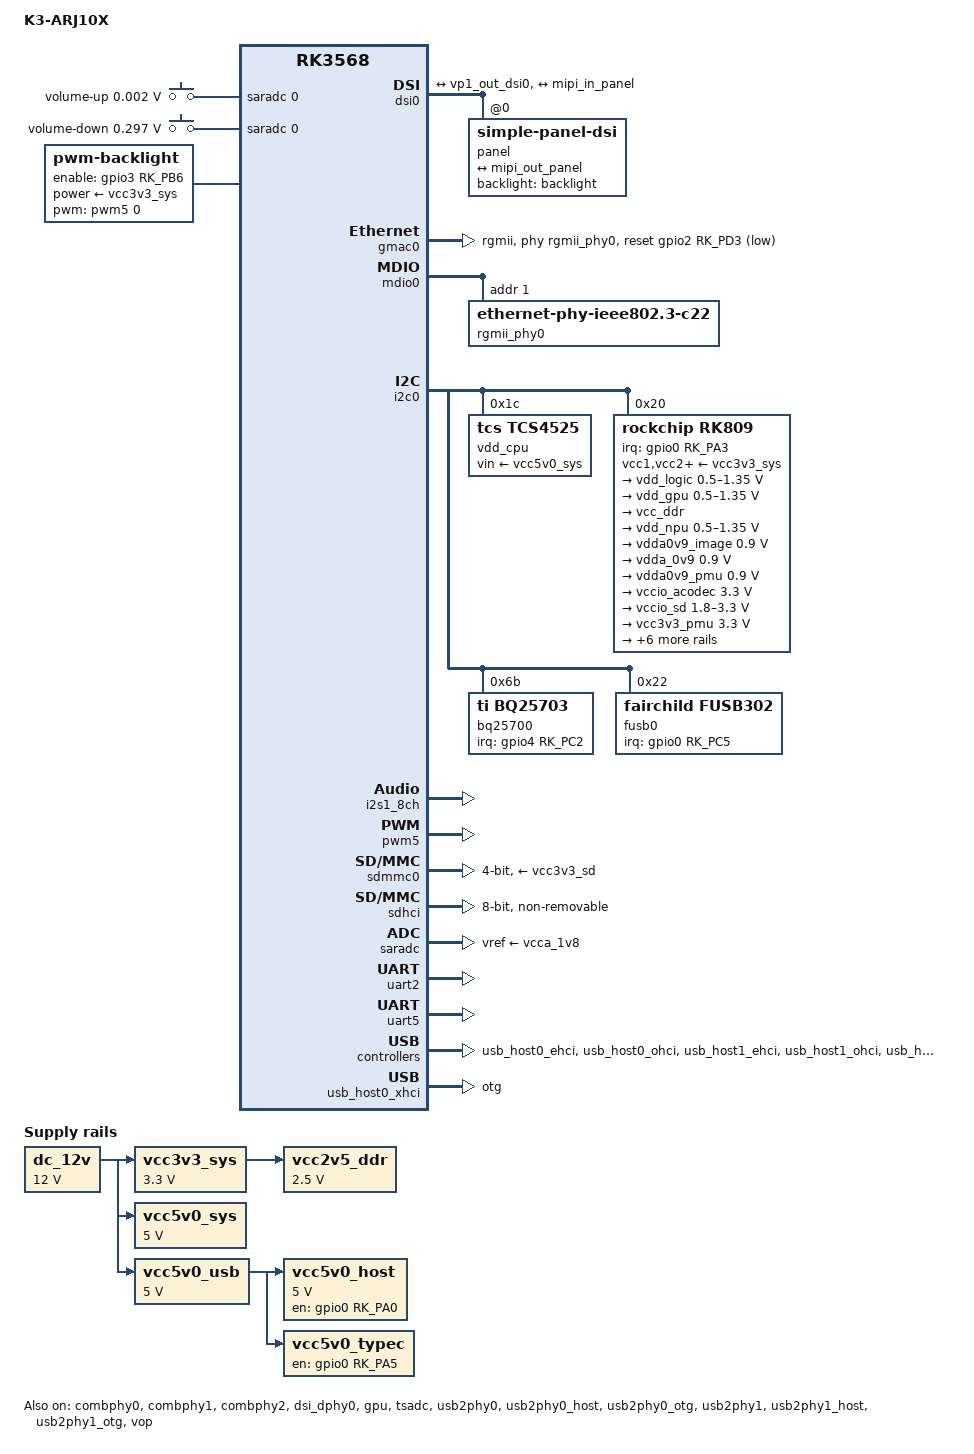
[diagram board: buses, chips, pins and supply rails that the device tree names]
// SPDX-License-Identifier: GPL-2.0-or-later OR MIT
/*
 * Copyright (c) 2025 Serhii Serhieiev <adron@ngnp.net>
 */

/dts-v1/;
#include <dt-bindings/gpio/gpio.h>
#include <dt-bindings/input/input.h>
#include <dt-bindings/leds/common.h>
#include <dt-bindings/pinctrl/rockchip.h>
#include <dt-bindings/soc/rockchip,vop2.h>
#include <dt-bindings/display/drm_mipi_dsi.h>
#include "rk3568.dtsi"

/ {
	model = "K3-ARJ10X";
	compatible = "k3,-arj10X", "rockchip,rk3568";

	aliases {
		ethernet0 = &gmac0;
		mmc0 = &sdmmc0;
		mmc1 = &sdmmc1;
		mmc2 = &sdhci;
		mmc3 = &sdmmc2;
	};

	chosen: chosen {
		stdout-path = "serial5:230400n8";
		bootargs = "console=tty0 console=ttyS0,230400n8 logo.nologo video=DSI-1:panel_orientation=right_side_up fbcon=rotate:3";
		//bootargs = "console=tty0 logo.nologo video=DSI-1:panel_orientation=right_side_up r00t=/dev/mmcblk0p19";
		//bootargs = "console=tty0 logo.nologo video=DSI-1:panel_orientation=right_side_up r00t=/dev/mmcblk0p19 printk.devkmsg=on loglevel=6";
	};

	adc-keys {
		compatible = "adc-keys";
		io-channels = <&saradc 0>;
		io-channel-names = "buttons";
		keyup-threshold-microvolt = <1800000>;
		poll-interval = <100>;

		vol-up-key {
			label = "volume-up";
			linux,code = <KEY_VOLUMEUP>;
			press-threshold-microvolt = <1750>;
		};
		vol-down-key {
			label = "volume-down";
			linux,code = <KEY_VOLUMEDOWN>;
			press-threshold-microvolt = <297500>;
		};
	};

	backlight: backlight {
		compatible = "pwm-backlight";
		power-supply = <&vcc3v3_sys>;
		pwms = <&pwm5 0 25000 0>;
		enable-gpios = <&gpio3 RK_PB6 GPIO_ACTIVE_HIGH>;
		pinctrl-names = "default";
		pinctrl-0 = <&lvds_bl_en>;
		brightness-levels = <
			0   20  20  21  21  22  22  23
			23  24  24  25  25  26  26  27
			27  28  28  29  29  30  30  31
			31  32  32  33  33  34  34  35
			35  36  36  37  37  38  38  39
			40  41  42  43  44  45  46  47
			48  49  50  51  52  53  54  55
			56  57  58  59  60  61  62  63
			64  65  66  67  68  69  70  71
			72  73  74  75  76  77  78  79
			80  81  82  83  84  85  86  87
			88  89  90  91  92  93  94  95
			96  97  98  99  100 101 102 103
			104 105 106 107 108 109 110 111
			112 113 114 115 116 117 118 119
			120 121 122 123 124 125 126 127
			128 129 130 131 132 133 134 135
			136 137 138 139 140 141 142 143
			144 145 146 147 148 149 150 151
			152 153 154 155 156 157 158 159
			160 161 162 163 164 165 166 167
			168 169 170 171 172 173 174 175
			176 177 178 179 180 181 182 183
			184 185 186 187 188 189 190 191
			192 193 194 195 196 197 198 199
			200 201 202 203 204 205 206 207
			208 209 210 211 212 213 214 215
			216 217 218 219 220 221 222 223
			224 225 226 227 228 229 230 231
			232 233 234 235 236 237 238 239
			240 241 242 243 244 245 246 247
			248 249 250 251 252 253 254 255>;
		default-brightness-level = <50>;
	};

	/* hdmi-con {
		compatible = "hdmi-connector";
		type = "c";

		port {
			hdmi_con_in: endpoint {
				remote-endpoint = <&hdmi_out_con>;
			};
		};
	}; */

	dc_12v: dc-12v {
		compatible = "regulator-fixed";
		regulator-name = "dc_12v";
		regulator-always-on;
		regulator-boot-on;
		regulator-min-microvolt = <12000000>;
		regulator-max-microvolt = <12000000>;
	};

	vcc3v3_sys: vcc3v3-sys {
		compatible = "regulator-fixed";
		regulator-name = "vcc3v3_sys";
		regulator-always-on;
		regulator-boot-on;
		regulator-min-microvolt = <3300000>;
		regulator-max-microvolt = <3300000>;
		vin-supply = <&dc_12v>;
	};

	vcc5v0_sys: vcc5v0-sys {
		compatible = "regulator-fixed";
		regulator-name = "vcc5v0_sys";
		regulator-always-on;
		regulator-boot-on;
		regulator-min-microvolt = <5000000>;
		regulator-max-microvolt = <5000000>;
		vin-supply = <&dc_12v>;
	};

	vcc2v5_ddr: vcc2v5-ddr {
		compatible = "regulator-fixed";
		regulator-name = "vcc2v5_sys";
		regulator-always-on;
		regulator-boot-on;
		regulator-min-microvolt = <2500000>;
		regulator-max-microvolt = <2500000>;
		vin-supply = <&vcc3v3_sys>;
	};

	vcc5v0_usb: vcc5v0-usb {
		compatible = "regulator-fixed";
		regulator-name = "vcc5v0_usb";
		regulator-always-on;
		regulator-boot-on;
		regulator-min-microvolt = <5000000>;
		regulator-max-microvolt = <5000000>;
		vin-supply = <&dc_12v>;
	};

	vcc5v0_host: vcc5v0-host-regulator {
		compatible = "regulator-fixed";
		regulator-name = "vcc5v0_host";
		regulator-boot-on;
		regulator-always-on;
		regulator-min-microvolt = <5000000>;
		regulator-max-microvolt = <5000000>;
		enable-active-high;
		gpio = <&gpio0 RK_PA0 GPIO_ACTIVE_HIGH>;
		vin-supply = <&vcc5v0_usb>;
		pinctrl-names = "default";
		pinctrl-0 = <&vcc5v0_host_en>;
	};

	vcc5v0_typec: vcc5v0-typec-regulator {
		compatible = "regulator-fixed";
		enable-active-high;
		gpio = <&gpio0 RK_PA5 GPIO_ACTIVE_HIGH>;
		pinctrl-names = "default";
		pinctrl-0 = <&vcc5v0_typec_en>;
		regulator-name = "vcc5v0_typec";
		regulator-always-on;
		vin-supply = <&vcc5v0_usb>;
	};

};

&combphy0 {
	/* used for USB3 */
	status = "okay";
	extcon = <&fusb0>;
};

&combphy1 {
	/* used for USB3 */
	status = "okay";
};

&combphy2 {
	/* used for PCIe */
	status = "okay";
};

&cpu0 {
	cpu-supply = <&vdd_cpu>;
};

&cpu1 {
	cpu-supply = <&vdd_cpu>;
};

&cpu2 {
	cpu-supply = <&vdd_cpu>;
};

&cpu3 {
	cpu-supply = <&vdd_cpu>;
};

&dsi_dphy0 {
	status = "okay";
};

&dsi0 {
	status = "okay";

	ports {
		dsi0_in: port@0 {
			reg = <0>;
			dsi0_in_vp1: endpoint {
				remote-endpoint = <&vp1_out_dsi0>;
			};
		};

		dsi0_out: port@1 {
			reg = <1>;
			mipi_out_panel: endpoint {
				remote-endpoint = <&mipi_in_panel>;
			};
		};
	};

	panel: panel@0 {
		compatible = "simple-panel-dsi";
		reg = <0>;

		backlight = <&backlight>;

		reset-delay-ms = <60>;
		enable-delay-ms = <60>;
		prepare-delay-ms = <60>;
		unprepare-delay-ms = <60>;
		init-delay-ms = <120>;
		disable-delay-ms = <60>;

		width-mm = <135>;
		height-mm = <216>;

		dsi,flags = <(MIPI_DSI_MODE_VIDEO | MIPI_DSI_MODE_VIDEO_BURST |
			      MIPI_DSI_MODE_LPM | MIPI_DSI_MODE_NO_EOT_PACKET)>;

		dsi,format = <MIPI_DSI_FMT_RGB888>;
		dsi,lanes = <4>;

		panel-init-sequence = [
			05 78 01 11
			05 1E 01 29
		];
		panel-exit-sequence = [
			05 00 01 28
			05 00 01 10
		];

		display-timings {
			native-mode = <&timing0>;

			timing0: timing0 {
				clock-frequency = <159000000>;
				hactive = <1200>;
				vactive = <1920>;

				hfront-porch = <60>;
				hsync-len = <24>;
				hback-porch = <80>;

				vfront-porch = <14>;
				vsync-len = <2>;
				vback-porch = <10>;

				hsync-active = <0>;
				vsync-active = <0>;
				de-active = <0>;
				pixelclk-active = <0>;
			};
		};

		port {
			mipi_in_panel: endpoint {
				remote-endpoint = <&mipi_out_panel>;
			};
		};
	};
};

&gpu {
	mali-supply = <&vdd_gpu>;
	status = "okay";
};

/* &hdmi {
	status = "okay";
};

&hdmi_in {
	hdmi_in_vp0: endpoint {
		remote-endpoint = <&vp0_out_hdmi>;
	};
};

&hdmi_out {
	hdmi_out_con: endpoint {
		remote-endpoint = <&hdmi_con_in>;
	};
}; */

&gmac0 {
	assigned-clocks = <&cru SCLK_GMAC0_RX_TX>, <&cru SCLK_GMAC0>;
	assigned-clock-parents = <&cru SCLK_GMAC0_RGMII_SPEED>;
	assigned-clock-rates = <0>, <125000000>;
	clock_in_out = "output";
	phy-handle = <&rgmii_phy0>;
	phy-mode = "rgmii";

	pinctrl-names = "default";
	pinctrl-0 = <&gmac0_miim
     &gmac0_tx_bus2_level3
     &gmac0_rx_bus2
     &gmac0_rgmii_clk_level2
     &gmac0_rgmii_bus_level3>;

	snps,reset-gpio = <&gpio2 RK_PD3 GPIO_ACTIVE_LOW>;
	snps,reset-active-low;
	/* Reset time is 20ms, 100ms for XXX */
	snps,reset-delays-us = <0 20000 100000>;

	tx_delay = <0x46>;
	rx_delay = <0x2f>;

	status = "okay";
};

&mdio0 {
	rgmii_phy0: ethernet-phy@1 {
		compatible = "ethernet-phy-ieee802.3-c22";
		reg = <1>;
	};
};

&i2c0 {
	status = "okay";

	vdd_cpu: regulator@1c {
		compatible = "tcs,tcs4525";
		reg = <0x1c>;
		regulator-compatible = "fan53555-reg";
		fcs,suspend-voltage-selector = <1>;
		regulator-name = "vdd_cpu";
		regulator-min-microvolt = <712500>;
		regulator-max-microvolt = <1390000>;
		regulator-init-microvolt = <900000>;
		regulator-ramp-delay = <2300>;
		regulator-always-on;
		regulator-boot-on;
		vin-supply = <&vcc5v0_sys>;

		regulator-state-mem {
			regulator-off-in-suspend;
		};
	};

	rk809: pmic@20 {
		compatible = "rockchip,rk809";
		reg = <0x20>;

		interrupt-parent = <&gpio0>;
		interrupts = <RK_PA3 IRQ_TYPE_LEVEL_LOW>;

		assigned-clocks = <&cru I2S1_MCLKOUT_TX>;
		assigned-clock-parents = <&cru CLK_I2S1_8CH_TX>;
		#sound-dai-cells = <0>;

		#clock-cells = <1>;
		clock-names = "mclk";
		clocks = <&cru I2S1_MCLKOUT_TX>;

		pinctrl-names = "default";
		pinctrl-0 = <&pmic_int>, <&i2s1m0_mclk>;

		rockchip,system-power-controller;
		wakeup-source;

		vcc1-supply = <&vcc3v3_sys>;
		vcc2-supply = <&vcc3v3_sys>;
		vcc3-supply = <&vcc3v3_sys>;
		vcc4-supply = <&vcc3v3_sys>;
		vcc5-supply = <&vcc3v3_sys>;
		vcc6-supply = <&vcc3v3_sys>;
		vcc7-supply = <&vcc3v3_sys>;
		vcc8-supply = <&vcc3v3_sys>;
		vcc9-supply = <&vcc3v3_sys>;

		regulators {
			vdd_logic: DCDC_REG1 {
				regulator-name = "vdd_logic";
				regulator-always-on;
				regulator-boot-on;
				regulator-init-microvolt = <900000>;
				regulator-initial-mode = <2>;
				regulator-min-microvolt = <500000>;
				regulator-max-microvolt = <1350000>;
				regulator-ramp-delay = <6001>;

				regulator-state-mem {
					regulator-off-in-suspend;
				};
			};

			vdd_gpu: DCDC_REG2 {
				regulator-always-on;
				regulator-boot-on;
				regulator-name = "vdd_gpu";
				regulator-init-microvolt = <900000>;
				regulator-initial-mode = <2>;
				regulator-min-microvolt = <500000>;
				regulator-max-microvolt = <1350000>;
				regulator-ramp-delay = <6001>;

				regulator-state-mem {
					regulator-off-in-suspend;
				};
			};

			vcc_ddr: DCDC_REG3 {
				regulator-name = "vcc_ddr";
				regulator-always-on;
				regulator-boot-on;
				regulator-initial-mode = <2>;

				regulator-state-mem {
					regulator-on-in-suspend;
				};
			};

			vdd_npu: DCDC_REG4 {
				regulator-name = "vdd_npu";
				regulator-init-microvolt = <900000>;
				regulator-initial-mode = <2>;
				regulator-min-microvolt = <500000>;
				regulator-max-microvolt = <1350000>;
				regulator-ramp-delay = <6001>;

				regulator-state-mem {
					regulator-off-in-suspend;
				};
			};

			vdda0v9_image: LDO_REG1 {
				regulator-boot-on;
				regulator-always-on;
				regulator-name = "vdda0v9_image";
				regulator-min-microvolt = <900000>;
				regulator-max-microvolt = <900000>;

				regulator-state-mem {
					regulator-off-in-suspend;
				};
			};

			vdda_0v9: LDO_REG2 {
				regulator-name = "vdda_0v9";
				regulator-always-on;
				regulator-boot-on;
				regulator-min-microvolt = <900000>;
				regulator-max-microvolt = <900000>;

				regulator-state-mem {
					regulator-off-in-suspend;
				};
			};

			vdda0v9_pmu: LDO_REG3 {
				regulator-name = "vdda0v9_pmu";
				regulator-always-on;
				regulator-boot-on;
				regulator-min-microvolt = <900000>;
				regulator-max-microvolt = <900000>;

				regulator-state-mem {
					regulator-on-in-suspend;
					regulator-suspend-microvolt = <900000>;
				};
			};

			vccio_acodec: LDO_REG4 {
				regulator-always-on;
				regulator-boot-on;
				regulator-name = "vccio_acodec";
				regulator-min-microvolt = <3300000>;
				regulator-max-microvolt = <3300000>;

				regulator-state-mem {
					regulator-off-in-suspend;
				};
			};

			vccio_sd: LDO_REG5 {
				regulator-name = "vccio_sd";
				regulator-always-on;
				regulator-boot-on;
				regulator-min-microvolt = <1800000>;
				regulator-max-microvolt = <3300000>;

				regulator-state-mem {
					regulator-off-in-suspend;
				};
			};

			vcc3v3_pmu: LDO_REG6 {
				regulator-name = "vcc3v3_pmu";
				regulator-always-on;
				regulator-boot-on;
				regulator-min-microvolt = <3300000>;
				regulator-max-microvolt = <3300000>;

				regulator-state-mem {
					regulator-on-in-suspend;
					regulator-suspend-microvolt = <3300000>;
				};
			};

			vcca_1v8: LDO_REG7 {
				regulator-name = "vcca_1v8";
				regulator-always-on;
				regulator-boot-on;
				regulator-min-microvolt = <1800000>;
				regulator-max-microvolt = <1800000>;

				regulator-state-mem {
					regulator-off-in-suspend;
				};
			};

			vcca1v8_pmu: LDO_REG8 {
				regulator-name = "vcca1v8_pmu";
				regulator-always-on;
				regulator-boot-on;
				regulator-min-microvolt = <1800000>;
				regulator-max-microvolt = <1800000>;

				regulator-state-mem {
					regulator-on-in-suspend;
					regulator-suspend-microvolt = <1800000>;
				};
			};

			vcca1v8_image: LDO_REG9 {
				regulator-always-on;
				regulator-boot-on;
				regulator-name = "vcca1v8_image";
				regulator-min-microvolt = <1800000>;
				regulator-max-microvolt = <1800000>;

				regulator-state-mem {
					regulator-off-in-suspend;
				};
			};

			vcc_1v8: DCDC_REG5 {
				regulator-always-on;
				regulator-boot-on;
				regulator-min-microvolt = <1800000>;
				regulator-max-microvolt = <1800000>;
				regulator-name = "vcc_1v8";
				regulator-state-mem {
					regulator-off-in-suspend;
				};
			};

			vcc_3v3: SWITCH_REG1 {
				regulator-name = "vcc_3v3";
				regulator-always-on;
				regulator-boot-on;

				regulator-state-mem {
					regulator-off-in-suspend;
				};
			};

			vcc3v3_sd: SWITCH_REG2 {
				regulator-name = "vcc3v3_sd";
				regulator-always-on;
				regulator-boot-on;

				regulator-state-mem {
					regulator-off-in-suspend;
				};
			};
		};

		/* rk817_charger: charger {
			monitored-battery = <&battery>;
			rockchip,resistor-sense-micro-ohms = <10000>;
			rockchip,sleep-enter-current-microamp = <150000>;
			rockchip,sleep-filter-current-microamp = <100000>;
		}; */

	};

	bq25700@6b {
		status = "okay";
		compatible = "ti,bq25703";
		reg = <0x6b>;
		interrupt-parent = <&gpio4>;
		interrupts = <RK_PC2 IRQ_TYPE_LEVEL_LOW>;
		pinctrl-names = "default";
		pinctrl-0 = <&charger_ok_int>;
		ti,charge-current = <1472000>;
		ti,max-input-voltage = <19520000>;
		ti,max-charge-voltage = <8704000>;	// >100%
		ti,pct80-charge-voltage = <8256000>; // ~75-80%
		ti,charge-term-current = <300000>;
		ti,vigilant-thread-period = <30>;
		ti,input-current-sdp = <5000000>; // actual current limit
		ti,input-current-dcp = <2000000>; // do not used
		ti,input-current-cdp = <2000000>; // do not used
		ti,minimum-sys-voltage = <7296000>; // ~20%
		ti,otg-voltage = <5000000>; // do not used
		ti,otg-current = <1500000>; // do not used
		pd-charge-only = <0>;

		ocv_table_mv = <7296
			7360 7424 7488 7552 7616
			7680 7744 7808 7872 7936
			8000 8064 8128 8192 8256
			8320 8384 8448 8512 8576>;
		ocv_table_ma = <192
			256	 320	384	 448	512
			576	 640	704	 768	832
			896	 960	1024 1088 1152
			1216 1280 1344 1408 1472>; // 100..80%

		charge-full-design-microamp-hours = <6000000>;
	};

	fusb0: fusb30x@22 {
		status = "okay";
		compatible = "fairchild,fusb302";
		reg = <0x22>;
		interrupt-parent = <&gpio0>;
		interrupts = <RK_PC5 IRQ_TYPE_LEVEL_LOW>;
		pinctrl-names = "default";
		pinctrl-0 = <&fusb0_int>;
		//fusb340-switch-gpios = <&gpio4 RK_PD2 GPIO_ACTIVE_HIGH>;
	};

};

&i2s0_8ch {
	status = "disabled";
	/* HDMI */
};

&i2s1_8ch {
	pinctrl-names = "default";
	pinctrl-0 = <&i2s1m0_sclktx
		     &i2s1m0_lrcktx
		     &i2s1m0_sdi0
		     &i2s1m0_sdo0>;
	rockchip,trcm-sync-tx-only;
	status = "okay";
	/* PMIC RK817 */
};

&pinctrl {
	pmic {
		pmic_int: pmic-int {
			rockchip,pins = <0 RK_PA3 RK_FUNC_GPIO &pcfg_pull_up>;
		};
	};

	usb {
		vcc5v0_host_en: vcc5v0-host-en {
			rockchip,pins = <0 RK_PA0 RK_FUNC_GPIO &pcfg_pull_none>;
		};
	};

	fusb30x {
		fusb0_int: fusb0-int {
			rockchip,pins = <0 RK_PC5 RK_FUNC_GPIO &pcfg_pull_up>;
		};

		vcc5v0_typec_en: vcc5v0_typec_en {
			rockchip,pins = <0 RK_PA5 RK_FUNC_GPIO &pcfg_pull_up>;
		};
	};

	backlight_bl {
		lvds_bl_en: lvds-bl-en {
			rockchip,pins = <3 RK_PB6 RK_FUNC_GPIO &pcfg_pull_down>;
			phandle = <0x13a>;
		};
	};

	charger {
		charger_ok_int: charger-ok-int {
			rockchip,pins = <4 RK_PC2 RK_FUNC_GPIO &pcfg_pull_up>;
		};
	};

};

&pmu_io_domains {
	//pmuio1-supply = <&vcc3v3_pmu>;
	pmuio2-supply = <&vcc3v3_pmu>;
	vccio1-supply = <&vccio_acodec>;
	//vccio2-supply = <&vcc_1v8>;
	vccio3-supply = <&vccio_sd>;
	vccio4-supply = <&vcc_1v8>;
	vccio5-supply = <&vcc_3v3>;
	vccio6-supply = <&vcc_1v8>;
	vccio7-supply = <&vcc_3v3>;
	status = "okay";
};

&pwm5 {
	status = "okay";
};

&sdmmc0 { /* sd-card slot */
	bus-width = <4>;
	cap-mmc-highspeed;
	cap-sd-highspeed;
	disable-wp;
	sd-uhs-sdr104;
	supports-sd;
	pinctrl-names = "default";
	pinctrl-0 = <&sdmmc0_bus4 &sdmmc0_clk &sdmmc0_cmd &sdmmc0_det>;
	vmmc-supply = <&vcc3v3_sd>;
	vqmmc-supply = <&vccio_sd>;
	status = "okay";
};

&sdhci { /* eMMC - mmc2 */
	bus-width = <8>;
	supports-emmc;
	non-removable;
	max-frequency = <200000000>;
	status = "okay";
};

&tsadc {
	status = "okay";
};

&saradc {
	vref-supply = <&vcca_1v8>;
	status = "okay";
};

&uart2 {
	status = "okay";
};

&uart5 {
	status = "okay";
	pinctrl-0 = <&uart5m1_xfer>;
	pinctrl-names = "default";
};

&usb_host0_ehci {
	status = "okay";
};

&usb_host0_ohci {
	status = "okay";
};

&usb_host0_xhci {
	dr_mode = "otg";
	//dr_mode = "host";
	extcon = <&fusb0>;
	status = "okay";
};

&usb_host1_ehci {
	status = "okay";
};

&usb_host1_ohci {
	status = "okay";
};

&usb_host1_xhci {
	status = "okay";
};

&usb2phy0 {
	extcon = <&fusb0>;
	status = "okay";
};

&usb2phy0_host {
	status = "okay";
	phy-supply = <&vcc5v0_host>;
};

&usb2phy0_otg {
	status = "okay";
};

&usb2phy1 {
	status = "okay";
};

&usb2phy1_host {
	status = "okay";
};

&usb2phy1_otg {
	status = "okay";
	phy-supply = <&vcc5v0_host>;
};

&cru {
	assigned-clocks = <&pmucru CLK_RTC_32K>, <&cru PLL_GPLL>, <&pmucru PLL_PPLL>,
		<&cru PLL_VPLL>;
	assigned-clock-rates = <32768>, <1200000000>, <200000000>,
		<298000000>;
};

&vop {
	assigned-clocks = <&cru DCLK_VOP0>, <&cru DCLK_VOP1>;
	assigned-clock-parents = <&pmucru PLL_HPLL>, <&cru PLL_VPLL>;
	status = "okay";
};

&vop_mmu {
	status = "okay";
};

/* &vp0 {
	vp0_out_hdmi: endpoint@ROCKCHIP_VOP2_EP_HDMI0 {
		reg = <ROCKCHIP_VOP2_EP_HDMI0>;
		remote-endpoint = <&hdmi_in_vp0>;
	};
}; */

&vp1 {
	vp1_out_dsi0: endpoint@ROCKCHIP_VOP2_EP_MIPI0 {
		reg = <ROCKCHIP_VOP2_EP_MIPI0>;
		remote-endpoint = <&dsi0_in_vp1>;
	};
};
